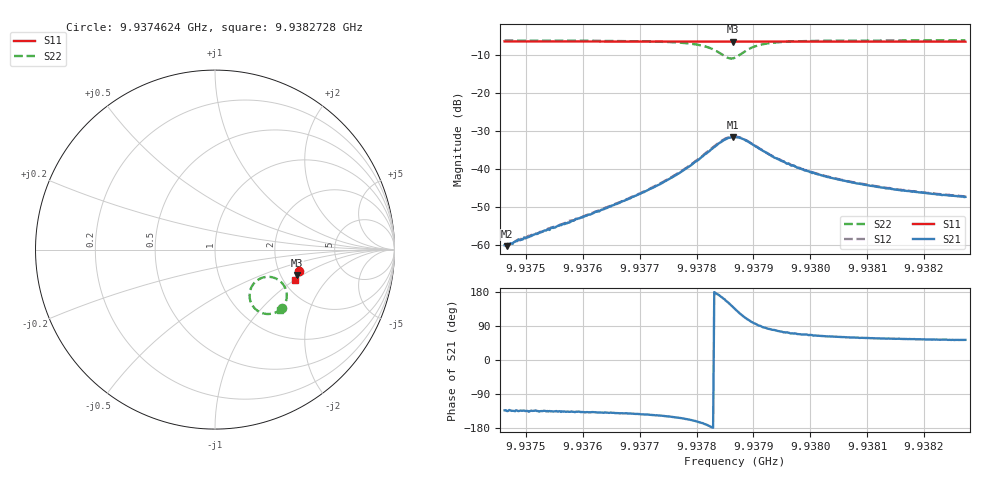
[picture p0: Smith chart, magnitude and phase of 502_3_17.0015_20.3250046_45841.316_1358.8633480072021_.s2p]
#  HZ  S  RI  R  50.00
! Rohde & Schwarz Vector Network Analyzer
! Rohde-Schwarz,ZNB20-2Port,1311601062101988,3.16
! Created: UTC 3/20/2024, 11:14:39 PM
! freq[Hz]  re:S11  im:S11  re:S21  im:S21  re:S12  im:S12  re:S22  im:S22
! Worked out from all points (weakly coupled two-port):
!   401 points, 9.9374624 GHz to 9.9382728 GHz, reference 50 ohm
!   highest |S21| = -31.52 dB at 9.9378636 GHz (marker M1); lowest = -60.4 dB at 9.9374665 GHz (marker M2)
!   lowest |S11| = -6.4 dB at 9.9378636 GHz (marker M3), VSWR 2.83, Z = 122 - j45.4 ohm
!   |S11| at or under -10 dB: nowhere
!   |S22| runs from -10.8 to -6.1 dB; largest |S21 - S12| = 0.0012
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9.93746245e9  0.4679 -0.1193  -0.00067 -0.000725  -0.000686 -0.000672  0.3732 -0.3276
9.9374665e9  0.4679 -0.1195  -0.000673 -0.00068  -0.000721 -0.000721  0.373 -0.328
9.93748474e9  0.4676 -0.1207  -0.000774 -0.000807  -0.000813 -0.000819  0.3711 -0.3294
9.93759819e9  0.4649 -0.1283  -0.00168 -0.00155  -0.00171 -0.00154  0.3576 -0.3399
9.93766302e9  0.4633 -0.1326  -0.00272 -0.00225  -0.00281 -0.00227  0.3454 -0.347
9.93773393e9  0.4614 -0.1375  -0.00517 -0.00345  -0.00533 -0.00339  0.3207 -0.3562
9.93778052e9  0.4599 -0.1407  -0.00909 -0.00413  -0.00935 -0.00408  0.2862 -0.3587
9.93781699e9  0.4581 -0.1431  -0.0157 -0.00267  -0.0162 -0.00235  0.2338 -0.3385
9.93783117e9  0.4573 -0.1437  -0.0194 0.000284  -0.0199 0.00084  0.2077 -0.3097
9.93784535e9  0.4564 -0.144  -0.0225 0.00616  -0.0229 0.00705  0.1922 -0.2587
9.93785548e9  0.456 -0.1439  -0.0226 0.0121  -0.0225 0.0131  0.2016 -0.2123
9.93786359e9  0.4559 -0.1438  -0.0204 0.0169  -0.0201 0.0178  0.2262 -0.1786
9.93786764e9  0.4562 -0.1438  -0.0183 0.0188  -0.0182 0.0198  0.2432 -0.1662
9.93787777e9  0.4564 -0.144  -0.0131 0.0219  -0.0124 0.0226  0.2905 -0.1519
9.93789195e9  0.4569 -0.1447  -0.00601 0.0219  -0.00521 0.0222  0.3461 -0.1646
9.93791424e9  0.4571 -0.1463  0.000568 0.0179  0.000892 0.018  0.3879 -0.2065
9.9379345e9  0.4571 -0.148  0.00263 0.0144  0.00299 0.0144  0.3986 -0.2381
9.93796083e9  0.4565 -0.1502  0.0036 0.0113  0.00393 0.0112  0.3997 -0.2652
9.93800338e9  0.4555 -0.1532  0.00362 0.00804  0.00397 0.00812  0.3943 -0.2908
9.93807024e9  0.4538 -0.1578  0.00343 0.00577  0.00355 0.00581  0.3848 -0.3115
9.93813912e9  0.4519 -0.1623  0.00307 0.00462  0.00316 0.00463  0.3767 -0.3236
9.93827283e9  0.4483 -0.1709  0.00257 0.00342  0.00271 0.00343  0.3646 -0.338
